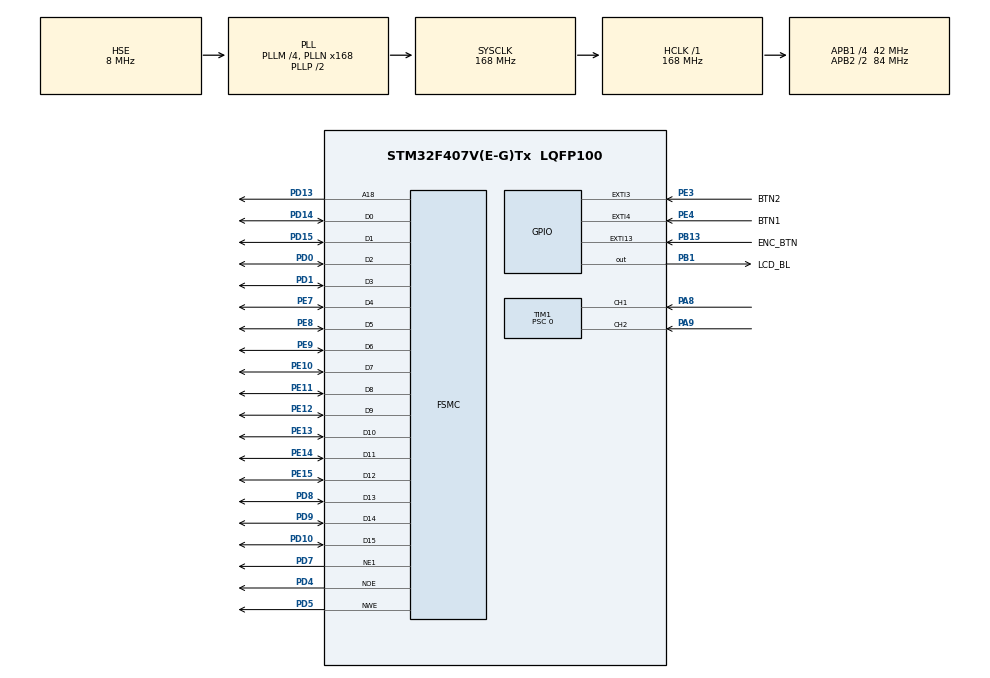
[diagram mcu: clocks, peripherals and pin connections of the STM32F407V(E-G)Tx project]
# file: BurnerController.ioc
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Mcu.Family=STM32F4
Mcu.Name=STM32F407V(E-G)Tx
Mcu.Package=LQFP100
NVIC.EXTI15_10_IRQn=true\:0\:0\:false\:false\:true\:true\:true
NVIC.EXTI3_IRQn=true\:0\:0\:false\:false\:true\:true\:true
NVIC.EXTI4_IRQn=true\:0\:0\:false\:false\:true\:true\:true
NVIC.PriorityGroup=NVIC_PRIORITYGROUP_4
NVIC.TIM2_IRQn=true\:0\:0\:false\:false\:true\:true\:true
PA13.Mode=Serial_Wire
PA13.Signal=SYS_JTMS-SWDIO
PA14.Mode=Serial_Wire
PA14.Signal=SYS_JTCK-SWCLK
PA8.GPIO_PuPd=GPIO_PULLUP
PA8.Signal=S_TIM1_CH1
PA9.GPIO_PuPd=GPIO_PULLUP
PA9.Signal=S_TIM1_CH2
PB1.GPIO_Label=LCD_BL
PB1.Signal=GPIO_Output
PB13.GPIO_Label=ENC_BTN
PB13.GPIO_ModeDefaultEXTI=GPIO_MODE_IT_FALLING
PB13.GPIO_PuPd=GPIO_PULLUP
PB13.Signal=GPXTI13
PD0.Mode=16b-d1
PD0.Signal=FSMC_D2
PD1.Mode=16b-d1
PD1.Signal=FSMC_D3
PD10.Mode=16b-d1
PD10.Signal=FSMC_D15
PD13.Mode=A18_1
PD13.Signal=FSMC_A18
PD14.Mode=16b-d1
PD14.Signal=FSMC_D0
PD15.Mode=16b-d1
PD15.Signal=FSMC_D1
PD4.Mode=Lcd1
PD4.Signal=FSMC_NOE
PD5.Mode=Lcd1
PD5.Signal=FSMC_NWE
PD7.Mode=NorPsramChipSelect1_1
PD7.Signal=FSMC_NE1
PD8.Mode=16b-d1
PD8.Signal=FSMC_D13
PD9.Mode=16b-d1
PD9.Signal=FSMC_D14
PE10.Mode=16b-d1
PE10.Signal=FSMC_D7
PE11.Mode=16b-d1
PE11.Signal=FSMC_D8
PE12.Mode=16b-d1
PE12.Signal=FSMC_D9
PE13.Mode=16b-d1
PE13.Signal=FSMC_D10
PE14.Mode=16b-d1
PE14.Signal=FSMC_D11
PE15.Mode=16b-d1
PE15.Signal=FSMC_D12
PE3.GPIO_Label=BTN2
PE3.GPIO_ModeDefaultEXTI=GPIO_MODE_IT_FALLING
PE3.GPIO_PuPd=GPIO_PULLUP
PE3.Signal=GPXTI3
PE4.GPIO_Label=BTN1
PE4.GPIO_ModeDefaultEXTI=GPIO_MODE_IT_FALLING
PE4.GPIO_PuPd=GPIO_PULLUP
PE4.Signal=GPXTI4
PE7.Mode=16b-d1
PE7.Signal=FSMC_D4
PE8.Mode=16b-d1
PE8.Signal=FSMC_D5
PE9.Mode=16b-d1
PE9.Signal=FSMC_D6
PH0-OSC_IN.Mode=HSE-External-Oscillator
PH0-OSC_IN.Signal=RCC_OSC_IN
PH1-OSC_OUT.Mode=HSE-External-Oscillator
PH1-OSC_OUT.Signal=RCC_OSC_OUT
ProjectManager.HeapSize=0x200
ProjectManager.StackSize=0x800
ProjectManager.TargetToolchain=STM32CubeIDE
RCC.48MHZClocksFreq_Value=84000000
RCC.AHBFreq_Value=168000000
RCC.APB1CLKDivider=RCC_HCLK_DIV4
RCC.APB1Freq_Value=42000000
RCC.APB1TimFreq_Value=84000000
RCC.APB2CLKDivider=RCC_HCLK_DIV2
RCC.APB2Freq_Value=84000000
RCC.APB2TimFreq_Value=168000000
RCC.CortexFreq_Value=168000000
RCC.HCLKFreq_Value=168000000
RCC.HSE_VALUE=8000000
RCC.HSI_VALUE=16000000
RCC.LSE_VALUE=32768
RCC.PLLM=4
RCC.PLLN=168
RCC.PLLSourceVirtual=RCC_PLLSOURCE_HSE
RCC.SYSCLKFreq_VALUE=168000000
RCC.SYSCLKSource=RCC_SYSCLKSOURCE_PLLCLK
RCC.VCOOutputFreq_Value=336000000
SH.S_TIM1_CH1.0=TIM1_CH1,Encoder_Interface
SH.S_TIM1_CH2.0=TIM1_CH2,Encoder_Interface
STMicroelectronics.X-CUBE-TOUCHGFX.4.18.1.ApplicationCcGraphicsJjApplication=TouchGFXOoGenerator
STMicroelectronics.X-CUBE-TOUCHGFX.4.18.1.tgfx_buffering_strategy=Partial
STMicroelectronics.X-CUBE-TOUCHGFX.4.18.1.tgfx_custom_height=240
STMicroelectronics.X-CUBE-TOUCHGFX.4.18.1.tgfx_custom_width=320
STMicroelectronics.X-CUBE-TOUCHGFX.4.18.1.tgfx_display_interface=disp_custom
STMicroelectronics.X-CUBE-TOUCHGFX.4.18.1.tgfx_number_of_blocks=3
STMicroelectronics.X-CUBE-TOUCHGFX.4.18.1_IsPackSelfContextualization=true
TIM1.CounterMode=TIM_COUNTERMODE_UP
TIM1.EncoderMode=TIM_ENCODERMODE_TI1
TIM1.Prescaler=0
TIM2.Period=100-1
TIM2.Prescaler=168-1
VP_CRC_VS_CRC.Mode=CRC_Activate
VP_STMicroelectronics.X-CUBE-TOUCHGFX_VS_GraphicsJjApplication_4.18.1.Mode=GraphicsJjApplication
VP_TIM2_VS_ClockSourceINT.Mode=Internal
board=custom

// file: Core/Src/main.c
/* USER CODE BEGIN Header */
/**
 ******************************************************************************
 * @file           : main.c
 * @brief          : Main program body
 ******************************************************************************
 * @attention
 *
 * <h2><center>&copy; Copyright (c) 2021 STMicroelectronics.
 * All rights reserved.</center></h2>
 *
 * This software component is licensed by ST under BSD 3-Clause license,
 * the "License"; You may not use this file except in compliance with the
 * License. You may obtain a copy of the License at:
 *                        opensource.org/licenses/BSD-3-Clause
 *
 ******************************************************************************
 */
/* USER CODE END Header */
#include "main.h"
#include "app_touchgfx.h"

/* USER CODE BEGIN Includes */
#include "ili9341.h"
#include "TouchGFX_DataTransfer.h"
#include <stdio.h>
#include <string.h>
/* USER CODE END Includes */

CRC_HandleTypeDef hcrc;

TIM_HandleTypeDef htim1;
TIM_HandleTypeDef htim2;

SRAM_HandleTypeDef hsram1;

/* USER CODE BEGIN PV */
uint8_t needChangeScreen = 0;
uint8_t setMode = 0;
int8_t enc_value = 0;
/* USER CODE END PV */

void SystemClock_Config(void);
static void MX_GPIO_Init(void);
static void MX_FSMC_Init(void);
static void MX_CRC_Init(void);
static void MX_TIM2_Init(void);
static void MX_TIM1_Init(void);
/* USER CODE BEGIN PFP */
extern void touchgfxSignalVSync(void);
/* USER CODE END PFP */

/* USER CODE BEGIN 0 */

void HAL_TIM_PeriodElapsedCallback(TIM_HandleTypeDef* htim)
{
	touchgfxSignalVSync();

}
void HAL_GPIO_EXTI_Callback(uint16_t GPIO_Pin){
	if(GPIO_Pin == BTN1_Pin)
	{
		needChangeScreen = 1;
	}
	if(GPIO_Pin == ENC_BTN_Pin)
	{
		setMode = !setMode;
		enc_value = 0;
		__HAL_TIM_SET_COUNTER(&htim1, 0);
	}

}

/* USER CODE END 0 */

int main(void)
{
  /* USER CODE BEGIN 1 */
<<<<<<< HEAD
	struct param _status[status_SIZE] =
	{
			{u"Температура нагревателя",0},
			{u"Температура масла",		0},
			{u"Мощность на нагреватель",0},
			{u"Таймер насоса подкачки",	0},
			{u"Таймер на нагрев",		0},
			{u"Количество розжигов",	0}
	};
	struct param _set[set_SIZE] =
	{
			{u"температуры теплоносителя",	0},
			{u"гистерезиса теплоносителя",	0},
			{u"температуры масла",			0},
			{u"оборотов насоса масла",		0},
			{u"оборотов вентилятора надува",0},
			{u"Время защитного таймера",	0},
			{u"Количество попыток розжига",	0}
	};
	struct param _adv[rareset_SIZE];
	wchar_t __tmp2[80];
	for (int i = 0; i < rareset_SIZE; ++i) {

		snprintf(&__tmp2[0], sizeof(_adv[0].name)/sizeof(_adv[0].name[0]), "Adv Param %d", i);
		strlcpy(_adv[0].name ,&__tmp2[0],sizeof(_adv[0].name)/sizeof(_adv[0].name[0]));

		_adv[i].value = i;
	}
	status = &_status[0];
	set = &_set[0];
	rareset = &_adv[0];
=======
>>>>>>> parent of 7bd487e (cyrillic added, normal scrollwall)

  /* USER CODE END 1 */

  /* MCU Configuration--------------------------------------------------------*/

  /* Reset of all peripherals, Initializes the Flash interface and the Systick. */
  HAL_Init();

  /* Configure the system clock */
  SystemClock_Config();

  /* Initialize all configured peripherals */
  MX_GPIO_Init();
  MX_FSMC_Init();
  MX_CRC_Init();
  MX_TIM2_Init();
  MX_TIM1_Init();
  MX_TouchGFX_Init();
  /* USER CODE BEGIN 2 */

  LCD_BL_ON();
  lcdInit();
  lcdSetOrientation(LCD_ORIENTATION_LANDSCAPE);
  HAL_TIM_Base_Start_IT(&htim2);
  HAL_TIM_Encoder_Start(&htim1, TIM_CHANNEL_ALL);

  /* USER CODE END 2 */

  /* Infinite loop */
	while (1) {

  MX_TouchGFX_Process();
	}
}

void SystemClock_Config(void)
{
  RCC_OscInitTypeDef RCC_OscInitStruct = {0};
  RCC_ClkInitTypeDef RCC_ClkInitStruct = {0};

  /** Configure the main internal regulator output voltage
  */
  __HAL_RCC_PWR_CLK_ENABLE();
  __HAL_PWR_VOLTAGESCALING_CONFIG(PWR_REGULATOR_VOLTAGE_SCALE1);
  /** Initializes the RCC Oscillators according to the specified parameters
  * in the RCC_OscInitTypeDef structure.
  */
  RCC_OscInitStruct.OscillatorType = RCC_OSCILLATORTYPE_HSE;
  RCC_OscInitStruct.HSEState = RCC_HSE_ON;
  RCC_OscInitStruct.PLL.PLLState = RCC_PLL_ON;
  RCC_OscInitStruct.PLL.PLLSource = RCC_PLLSOURCE_HSE;
  RCC_OscInitStruct.PLL.PLLM = 4;
  RCC_OscInitStruct.PLL.PLLN = 168;
  RCC_OscInitStruct.PLL.PLLP = RCC_PLLP_DIV2;
  RCC_OscInitStruct.PLL.PLLQ = 4;
  if (HAL_RCC_OscConfig(&RCC_OscInitStruct) != HAL_OK)
  {
    Error_Handler();
  }
  /** Initializes the CPU, AHB and APB buses clocks
  */
  RCC_ClkInitStruct.ClockType = RCC_CLOCKTYPE_HCLK|RCC_CLOCKTYPE_SYSCLK
                              |RCC_CLOCKTYPE_PCLK1|RCC_CLOCKTYPE_PCLK2;
  RCC_ClkInitStruct.SYSCLKSource = RCC_SYSCLKSOURCE_PLLCLK;
  RCC_ClkInitStruct.AHBCLKDivider = RCC_SYSCLK_DIV1;
  RCC_ClkInitStruct.APB1CLKDivider = RCC_HCLK_DIV4;
  RCC_ClkInitStruct.APB2CLKDivider = RCC_HCLK_DIV2;

  if (HAL_RCC_ClockConfig(&RCC_ClkInitStruct, FLASH_LATENCY_5) != HAL_OK)
  {
    Error_Handler();
  }
}

static void MX_CRC_Init(void)
{

  hcrc.Instance = CRC;
  if (HAL_CRC_Init(&hcrc) != HAL_OK)
  {
    Error_Handler();
  }

}

static void MX_TIM1_Init(void)
{

  TIM_Encoder_InitTypeDef sConfig = {0};
  TIM_MasterConfigTypeDef sMasterConfig = {0};

  htim1.Instance = TIM1;
  htim1.Init.Prescaler = 0;
  htim1.Init.CounterMode = TIM_COUNTERMODE_UP;
  htim1.Init.Period = 65535;
  htim1.Init.ClockDivision = TIM_CLOCKDIVISION_DIV1;
  htim1.Init.RepetitionCounter = 0;
  htim1.Init.AutoReloadPreload = TIM_AUTORELOAD_PRELOAD_DISABLE;
  sConfig.EncoderMode = TIM_ENCODERMODE_TI1;
  sConfig.IC1Polarity = TIM_ICPOLARITY_RISING;
  sConfig.IC1Selection = TIM_ICSELECTION_DIRECTTI;
  sConfig.IC1Prescaler = TIM_ICPSC_DIV1;
  sConfig.IC1Filter = 0;
  sConfig.IC2Polarity = TIM_ICPOLARITY_RISING;
  sConfig.IC2Selection = TIM_ICSELECTION_DIRECTTI;
  sConfig.IC2Prescaler = TIM_ICPSC_DIV1;
  sConfig.IC2Filter = 0;
  if (HAL_TIM_Encoder_Init(&htim1, &sConfig) != HAL_OK)
  {
    Error_Handler();
  }
  sMasterConfig.MasterOutputTrigger = TIM_TRGO_RESET;
  sMasterConfig.MasterSlaveMode = TIM_MASTERSLAVEMODE_DISABLE;
  if (HAL_TIMEx_MasterConfigSynchronization(&htim1, &sMasterConfig) != HAL_OK)
  {
    Error_Handler();
  }

}

static void MX_TIM2_Init(void)
{

  TIM_ClockConfigTypeDef sClockSourceConfig = {0};
  TIM_MasterConfigTypeDef sMasterConfig = {0};

  htim2.Instance = TIM2;
  htim2.Init.Prescaler = 168-1;
  htim2.Init.CounterMode = TIM_COUNTERMODE_UP;
  htim2.Init.Period = 100-1;
  htim2.Init.ClockDivision = TIM_CLOCKDIVISION_DIV1;
  htim2.Init.AutoReloadPreload = TIM_AUTORELOAD_PRELOAD_DISABLE;
  if (HAL_TIM_Base_Init(&htim2) != HAL_OK)
  {
    Error_Handler();
  }
  sClockSourceConfig.ClockSource = TIM_CLOCKSOURCE_INTERNAL;
  if (HAL_TIM_ConfigClockSource(&htim2, &sClockSourceConfig) != HAL_OK)
  {
    Error_Handler();
  }
  sMasterConfig.MasterOutputTrigger = TIM_TRGO_RESET;
  sMasterConfig.MasterSlaveMode = TIM_MASTERSLAVEMODE_DISABLE;
  if (HAL_TIMEx_MasterConfigSynchronization(&htim2, &sMasterConfig) != HAL_OK)
  {
    Error_Handler();
  }

}

static void MX_GPIO_Init(void)
{
  GPIO_InitTypeDef GPIO_InitStruct = {0};

  /* GPIO Ports Clock Enable */
  __HAL_RCC_GPIOE_CLK_ENABLE();
  __HAL_RCC_GPIOH_CLK_ENABLE();
  __HAL_RCC_GPIOB_CLK_ENABLE();
  __HAL_RCC_GPIOD_CLK_ENABLE();
  __HAL_RCC_GPIOA_CLK_ENABLE();

  /*Configure GPIO pin Output Level */
  HAL_GPIO_WritePin(LCD_BL_GPIO_Port, LCD_BL_Pin, GPIO_PIN_RESET);

  /*Configure GPIO pins : BTN2_Pin BTN1_Pin */
  GPIO_InitStruct.Pin = BTN2_Pin|BTN1_Pin;
  GPIO_InitStruct.Mode = GPIO_MODE_IT_FALLING;
  GPIO_InitStruct.Pull = GPIO_PULLUP;
  HAL_GPIO_Init(GPIOE, &GPIO_InitStruct);

  /*Configure GPIO pin : LCD_BL_Pin */
  GPIO_InitStruct.Pin = LCD_BL_Pin;
  GPIO_InitStruct.Mode = GPIO_MODE_OUTPUT_PP;
  GPIO_InitStruct.Pull = GPIO_NOPULL;
  GPIO_InitStruct.Speed = GPIO_SPEED_FREQ_LOW;
  HAL_GPIO_Init(LCD_BL_GPIO_Port, &GPIO_InitStruct);

  /*Configure GPIO pin : ENC_BTN_Pin */
  GPIO_InitStruct.Pin = ENC_BTN_Pin;
  GPIO_InitStruct.Mode = GPIO_MODE_IT_FALLING;
  GPIO_InitStruct.Pull = GPIO_PULLUP;
  HAL_GPIO_Init(ENC_BTN_GPIO_Port, &GPIO_InitStruct);

  /* EXTI interrupt init*/
  HAL_NVIC_SetPriority(EXTI3_IRQn, 0, 0);
  HAL_NVIC_EnableIRQ(EXTI3_IRQn);

  HAL_NVIC_SetPriority(EXTI4_IRQn, 0, 0);
  HAL_NVIC_EnableIRQ(EXTI4_IRQn);

  HAL_NVIC_SetPriority(EXTI15_10_IRQn, 0, 0);
  HAL_NVIC_EnableIRQ(EXTI15_10_IRQn);

}

/* FSMC initialization function */
static void MX_FSMC_Init(void)
{

  FSMC_NORSRAM_TimingTypeDef Timing = {0};

  /** Perform the SRAM1 memory initialization sequence
  */
  hsram1.Instance = FSMC_NORSRAM_DEVICE;
  hsram1.Extended = FSMC_NORSRAM_EXTENDED_DEVICE;
  /* hsram1.Init */
  hsram1.Init.NSBank = FSMC_NORSRAM_BANK1;
  hsram1.Init.DataAddressMux = FSMC_DATA_ADDRESS_MUX_DISABLE;
  hsram1.Init.MemoryType = FSMC_MEMORY_TYPE_SRAM;
  hsram1.Init.MemoryDataWidth = FSMC_NORSRAM_MEM_BUS_WIDTH_16;
  hsram1.Init.BurstAccessMode = FSMC_BURST_ACCESS_MODE_DISABLE;
  hsram1.Init.WaitSignalPolarity = FSMC_WAIT_SIGNAL_POLARITY_LOW;
  hsram1.Init.WrapMode = FSMC_WRAP_MODE_DISABLE;
  hsram1.Init.WaitSignalActive = FSMC_WAIT_TIMING_BEFORE_WS;
  hsram1.Init.WriteOperation = FSMC_WRITE_OPERATION_ENABLE;
  hsram1.Init.WaitSignal = FSMC_WAIT_SIGNAL_DISABLE;
  hsram1.Init.ExtendedMode = FSMC_EXTENDED_MODE_DISABLE;
  hsram1.Init.AsynchronousWait = FSMC_ASYNCHRONOUS_WAIT_DISABLE;
  hsram1.Init.WriteBurst = FSMC_WRITE_BURST_DISABLE;
  hsram1.Init.PageSize = FSMC_PAGE_SIZE_NONE;
  /* Timing */
  Timing.AddressSetupTime = 15;
  Timing.AddressHoldTime = 15;
  Timing.DataSetupTime = 255;
  Timing.BusTurnAroundDuration = 15;
  Timing.CLKDivision = 16;
  Timing.DataLatency = 17;
  Timing.AccessMode = FSMC_ACCESS_MODE_A;
  /* ExtTiming */

  if (HAL_SRAM_Init(&hsram1, &Timing, NULL) != HAL_OK)
  {
    Error_Handler( );
  }

}

void Error_Handler(void)
{
	__disable_irq();
	while (1) {
	}
}
